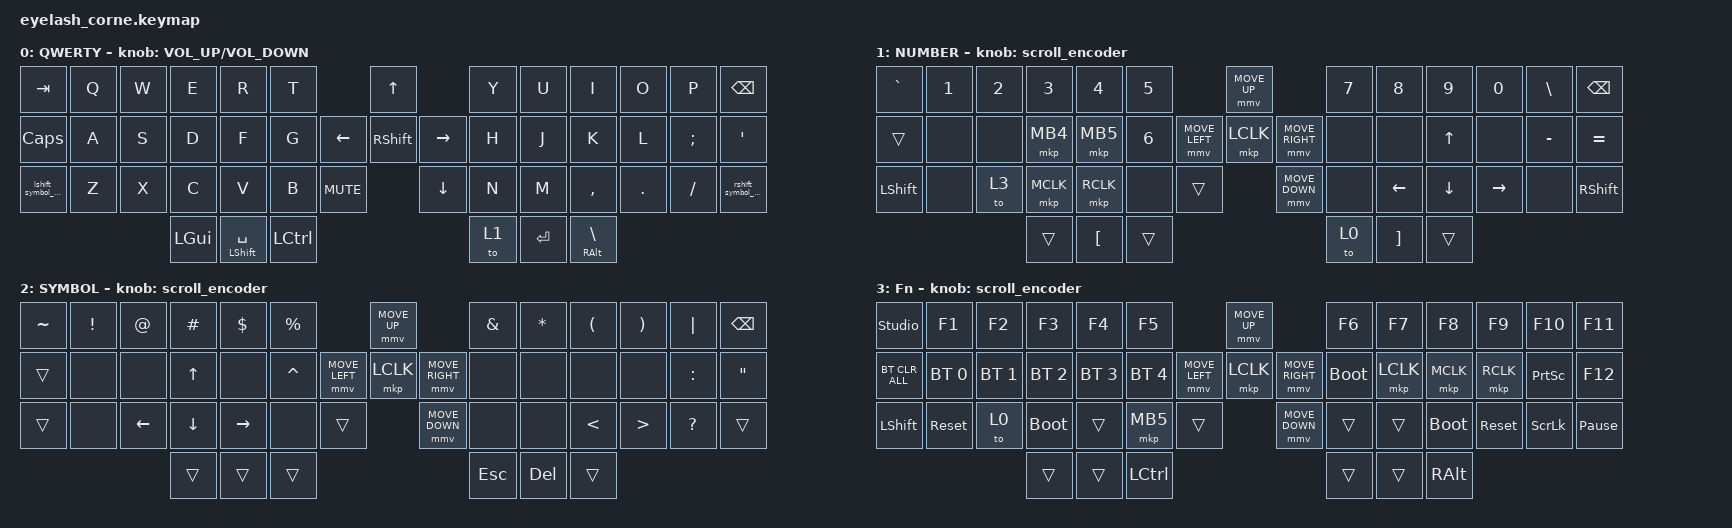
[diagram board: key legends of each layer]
#define ZMK_POINTING_DEFAULT_MOVE_VAL 1200  // 600
#define ZMK_POINTING_DEFAULT_SCRL_VAL 25   // 10

#include <input/processors.dtsi>
#include <zephyr/dt-bindings/input/input-event-codes.h>
#include <behaviors.dtsi>
#include <dt-bindings/zmk/bt.h>
#include <dt-bindings/zmk/keys.h>
#include <dt-bindings/zmk/outputs.h>
#include <dt-bindings/zmk/pointing.h>
#include <dt-bindings/zmk/rgb.h>

&mmv_input_listener { input-processors = <&zip_xy_scaler 2 1>; };

&msc_input_listener { input-processors = <&zip_scroll_scaler 2 1>; };

&msc {
    acceleration-exponent = <1>;      // 0
    time-to-max-speed-ms = <100>;       // 300
    delay-ms = <0>;                   // 0
};

&mmv {
    time-to-max-speed-ms = <500>;
    acceleration-exponent = <1>;
    trigger-period-ms = <16>;
};

/ {
    behaviors {
        td0: td0 {
            compatible = "zmk,behavior-tap-dance";
            display-name = "Shift/Caps Lock Tap Dance";
            #binding-cells = <0>;
            bindings = <&kp LEFT_SHIFT>, <&kp CAPS>;
        };

        lshift_symbol_mm: lshift_symbol_mm {
            compatible = "zmk,behavior-mod-morph";
            label = "LSHIFT_SYMBOL_MM";
            bindings = <&lt 2 LSHIFT>, <&kp LSHFT>;

            #binding-cells = <0>;
            mods = <(MOD_LCTL|MOD_LALT|MOD_LGUI|MOD_RCTL|MOD_RALT|MOD_RGUI)>;
            keep-mods = <(MOD_LCTL|MOD_LALT|MOD_LGUI|MOD_RSFT|MOD_RALT|MOD_RGUI)>;
        };

        rshift_symbol_mm: rshift_symbol_mm {
            compatible = "zmk,behavior-mod-morph";
            label = "RSHIFT_SYMBOL_MM";
            bindings = <&lt 2 RSHIFT>, <&kp RSHFT>;

            #binding-cells = <0>;
            mods = <(MOD_LCTL|MOD_LALT|MOD_LGUI|MOD_RCTL|MOD_RALT|MOD_RGUI)>;
            keep-mods = <(MOD_LCTL|MOD_LALT|MOD_LGUI|MOD_RSFT|MOD_RALT|MOD_RGUI)>;
        };

        h_t: h_t {
            compatible = "zmk,behavior-hold-tap";
            label = "H_T";
            bindings = <&kp>, <&kp>;

            #binding-cells = <2>;
            tapping-term-ms = <200>;
        };
    };

    rgb_encoder: rgb_encoder {
        compatible = "zmk,behavior-sensor-rotate";
        #sensor-binding-cells = <0>;
        bindings = <&rgb_ug RGB_BRI>, <&rgb_ug RGB_BRD>;
    };

    scroll_encoder: scroll_encoder {
        compatible = "zmk,behavior-sensor-rotate";
        #sensor-binding-cells = <0>;
        bindings = <&msc SCRL_DOWN>, <&msc SCRL_UP>;

        tap-ms = <100>;
    };

    combos {
        compatible = "zmk,combos";

        qw1 {
            bindings = <&kp N1>;
            key-positions = <1 2>;
            layers = <0>;
        };

        we2 {
            bindings = <&kp N2>;
            key-positions = <2 3>;
            layers = <0>;
        };

        re3 {
            bindings = <&kp N3>;
            key-positions = <3 4>;
            layers = <0>;
        };

        as4 {
            bindings = <&kp N4>;
            key-positions = <14 15>;
            layers = <0>;
        };

        sd5 {
            bindings = <&kp N5>;
            key-positions = <15 16>;
            layers = <0>;
        };

        df6 {
            bindings = <&kp N6>;
            key-positions = <16 17>;
            layers = <0>;
        };

        zx7 {
            bindings = <&kp N7>;
            key-positions = <29 30>;
            layers = <0>;
        };

        xc8 {
            bindings = <&kp N8>;
            key-positions = <30 31>;
            layers = <0>;
        };

        cv9 {
            bindings = <&kp N9>;
            key-positions = <31 32>;
            layers = <0>;
        };

        jk0 {
            bindings = <&kp N0>;
            key-positions = <23 24>;
            layers = <0>;
        };

        io {
            bindings = <&kp MINUS>;
            key-positions = <9 10>;
            layers = <0>;
        };

        op {
            bindings = <&kp EQUAL>;
            key-positions = <10 11>;
            layers = <0>;
        };

        up_io {
            bindings = <&kp UNDER>;
            key-positions = <9 10>;
            layers = <2>;
        };

        up_op {
            bindings = <&kp PLUS>;
            key-positions = <10 11>;
            layers = <2>;
        };

        kl {
            bindings = <&kp LBKT>;
            key-positions = <24 25>;
            layers = <0>;
        };

        lsc {
            bindings = <&kp RBKT>;
            key-positions = <25 26>;
            layers = <0>;
        };

        up_kl {
            bindings = <&kp LBRC>;
            key-positions = <24 25>;
            layers = <2>;
        };

        up_lsc {
            bindings = <&kp RBRC>;
            key-positions = <25 26>;
            layers = <2>;
        };
    };

    keymap {
        compatible = "zmk,keymap";

        default_layer {
            display-name = "QWERTY";
            bindings = <
&kp TAB            &kp Q  &kp W  &kp E     &kp R             &kp T                              &kp UP                &kp Y  &kp U      &kp I           &kp O    &kp P     &kp BSPC
&kp CAPS           &kp A  &kp S  &kp D     &kp F             &kp G                    &kp LEFT  &kp RSHFT  &kp RIGHT  &kp H  &kp J      &kp K           &kp L    &kp SEMI  &kp SQT
&lshift_symbol_mm  &kp Z  &kp X  &kp C     &kp V             &kp B      &kp C_MUTE              &kp DOWN              &kp N  &kp M      &kp COMMA       &kp DOT  &kp FSLH  &rshift_symbol_mm
                                 &kp LGUI  &h_t LSHFT SPACE  &kp LCTRL                                                &to 1  &kp ENTER  &h_t RALT BSLH
            >;

            sensor-bindings = <&inc_dec_kp C_VOLUME_UP C_VOLUME_DOWN>;
        };

        lower_layer {
            display-name = "NUMBER";
            bindings = <
&kp GRAVE  &kp N1  &kp N2  &kp N3     &kp N4     &kp N5                            &mmv MOVE_UP                     &kp N7  &kp N8    &kp N9    &kp N0     &kp BSLH   &kp BSPC
&trans     &none   &none   &mkp MB4   &mkp MB5   &kp N6            &mmv MOVE_LEFT  &mkp LCLK       &mmv MOVE_RIGHT  &none   &none     &kp UP    &none      &kp MINUS  &kp EQUAL
&kp LSHFT  &none   &to 3   &mkp MCLK  &mkp RCLK  &none   &trans                    &mmv MOVE_DOWN                   &none   &kp LEFT  &kp DOWN  &kp RIGHT  &none      &kp RSHFT
                           &trans     &kp LBKT   &trans                                                             &to 0   &kp RBKT  &trans
            >;

            sensor-bindings = <&scroll_encoder>;
        };

        raise_layer {
            display-name = "SYMBOL";
            bindings = <
&kp TILDE  &kp EXCL  &kp AT    &kp HASH  &kp DLLR   &kp PRCNT                            &mmv MOVE_UP                     &kp AMPS  &kp ASTRK  &kp LPAR  &kp RPAR   &kp PIPE   &kp BSPC
&trans     &none     &none     &kp UP    &none      &kp CARET            &mmv MOVE_LEFT  &mkp LCLK       &mmv MOVE_RIGHT  &none     &none      &none     &none      &kp COLON  &kp DQT
&trans     &none     &kp LEFT  &kp DOWN  &kp RIGHT  &none      &trans                    &mmv MOVE_DOWN                   &none     &none      &kp LT    &kp GT     &kp QMARK  &trans
                               &trans    &trans     &trans                                                                &kp ESC   &kp DEL    &trans
            >;

            sensor-bindings = <&scroll_encoder>;
        };

        layer_3 {
            display-name = "Fn";
            bindings = <
&studio_unlock  &kp F1        &kp F2        &kp F3        &kp F4        &kp F5                                  &mmv MOVE_UP                     &kp F6       &kp F7     &kp F8         &kp F9      &kp F10          &kp F11
&bt BT_CLR_ALL  &bt BT_SEL 0  &bt BT_SEL 1  &bt BT_SEL 2  &bt BT_SEL 3  &bt BT_SEL 4            &mmv MOVE_LEFT  &mkp LCLK       &mmv MOVE_RIGHT  &bootloader  &mkp LCLK  &mkp MCLK      &mkp RCLK   &kp PRINTSCREEN  &kp F12
&kp LSHFT       &sys_reset    &to 0         &bootloader   &trans        &mkp MB5      &trans                    &mmv MOVE_DOWN                   &trans       &trans     &bootloader    &sys_reset  &kp SCROLLLOCK   &kp PAUSE_BREAK
                                            &trans        &trans        &kp LCTRL                                                                &trans       &trans     &kp RIGHT_ALT
            >;

            sensor-bindings = <&scroll_encoder>;
        };
    };
};
